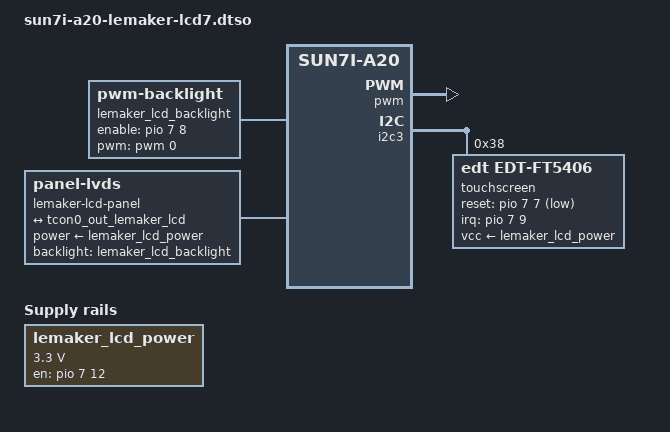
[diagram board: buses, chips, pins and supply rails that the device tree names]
/dts-v1/;
/plugin/;

/*
 * LeMaker 7" LVDS LCD (1024x600) with FT5x06 touch on the LCD connector
 * of the LeMaker Banana Pro. Parameters taken from the vendor fex file
 * (banana_pro_7lcd.fex).
 *
 * 55 MHz pixel clock, about 64 Hz. With an HDMI monitor connected use
 * lemaker-lcd7-hdmi instead: LCD and HDMI share PLL3 and the LCD flickers.
 */

/ {
	compatible = "allwinner,sun7i-a20";

	fragment@0 {
		target-path = "/";
		__overlay__ {
			/* Panel power, PH12 */
			lemaker_lcd_power: lemaker-lcd-power {
				compatible = "regulator-fixed";
				regulator-name = "lemaker-lcd-power";
				regulator-min-microvolt = <3300000>;
				regulator-max-microvolt = <3300000>;
				gpio = <&pio 7 12 0>; /* PH12, active high */
				enable-active-high;
			};

			/* Backlight: PWM0 on PB2, enable on PH8 */
			lemaker_lcd_backlight: lemaker-lcd-backlight {
				compatible = "pwm-backlight";
				pwms = <&pwm 0 50000 0>;
				brightness-levels = <0 255>;
				num-interpolated-steps = <255>;
				default-brightness-level = <200>;
				enable-gpios = <&pio 7 8 0>; /* PH8, active high */
			};

			/*
			 * The A20 TCON switches to LVDS output only for a
			 * "panel-lvds" panel, any other panel gets parallel RGB.
			 */
			lemaker-lcd-panel {
				compatible = "panel-lvds";
				width-mm = <154>;
				height-mm = <86>;
				data-mapping = "vesa-24";
				power-supply = <&lemaker_lcd_power>;
				backlight = <&lemaker_lcd_backlight>;

				panel-timing {
					clock-frequency = <55000000>;
					hactive = <1024>;
					vactive = <600>;
					hfront-porch = <170>;
					hback-porch = <100>;
					hsync-len = <50>;
					vfront-porch = <15>;
					vback-porch = <10>;
					vsync-len = <10>;
				};

				port {
					lemaker_lcd_panel_in: endpoint {
						remote-endpoint = <&tcon0_out_lemaker_lcd>;
					};
				};
			};
		};
	};

	fragment@1 {
		target = <&tcon0>;
		__overlay__ {
			pinctrl-names = "default";
			pinctrl-0 = <&lcd_lvds0_pins>;
		};
	};

	/* endpoint@1 of tcon0_out is already used by HDMI */
	fragment@2 {
		target = <&tcon0_out>;
		__overlay__ {
			#address-cells = <1>;
			#size-cells = <0>;

			tcon0_out_lemaker_lcd: endpoint@0 {
				reg = <0>;
				remote-endpoint = <&lemaker_lcd_panel_in>;
			};
		};
	};

	fragment@3 {
		target = <&pwm>;
		__overlay__ {
			pinctrl-names = "default";
			pinctrl-0 = <&pwm0_pin>;
			status = "okay";
		};
	};

	/* Touch: FT5x06 on I2C3 (PI0/PI1), IRQ on PH9, reset on PH7 */
	fragment@4 {
		target = <&i2c3>;
		__overlay__ {
			pinctrl-names = "default";
			pinctrl-0 = <&i2c3_pins>;
			#address-cells = <1>;
			#size-cells = <0>;
			status = "okay";

			touchscreen@38 {
				compatible = "edt,edt-ft5406";
				reg = <0x38>;
				/*
				 * The controller is powered from the panel line PH12. Without this
				 * the panel driver switches PH12 off on DPMS off and touch cannot
				 * wake the screen.
				 */
				vcc-supply = <&lemaker_lcd_power>;
				interrupt-parent = <&pio>;
				interrupts = <7 9 2>; /* PH9, IRQ_TYPE_EDGE_FALLING */
				/*
				 * PH7 is the controller reset (ctp_wakeup in fex).
				 * As reset-gpios the driver waits 300 ms after
				 * reset, as wake-gpios only 5 ms, too short.
				 */
				reset-gpios = <&pio 7 7 1>; /* PH7, active low */
				touchscreen-size-x = <1024>;
				touchscreen-size-y = <600>;
			};
		};
	};
};
